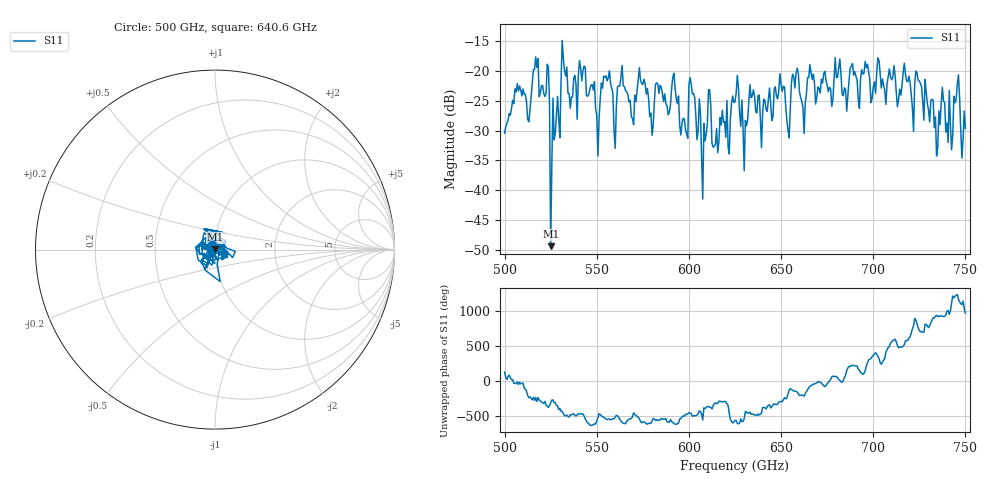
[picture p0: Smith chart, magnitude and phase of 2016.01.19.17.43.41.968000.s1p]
!Created with skrf (http://scikit-rf.org).
# GHz S RI R 50.0
!freq ReS11 ImS11
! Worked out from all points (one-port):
!   401 points, 500 GHz to 750 GHz, reference 50 ohm
!   lowest |S11| = -49.4 dB at 525 GHz (marker M1), VSWR 1.01, Z = 50.2 + j0.239 ohm
!   |S11| at or under -10 dB: start of sweep to end of sweep
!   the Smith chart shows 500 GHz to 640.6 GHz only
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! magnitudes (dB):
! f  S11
! 500 GHz  -30.4
! 506.9 GHz  -22.1
! 513.1 GHz  -28.5
! 516.9 GHz  -17.6
! 523.1 GHz  -18.9
! 525 GHz  -49.4
! 526.2 GHz  -24.5
! 531.2 GHz  -14.9
! 542.5 GHz  -19.9
! 550.6 GHz  -34.2
! 553.8 GHz  -20.9
! 559.4 GHz  -30.0
! 562.5 GHz  -22.5
! 593.8 GHz  -25.5
! 598.1 GHz  -29.7
! 601.2 GHz  -22.2
! 608.1 GHz  -28.8
! 610.6 GHz  -23.1
! 614.4 GHz  -32.3
! 625 GHz  -25.2
! 630.6 GHz  -28.3
! 633.8 GHz  -24.5
! 650.6 GHz  -23.4
! 653.8 GHz  -29.9
! 656.2 GHz  -20.5
! 687.5 GHz  -19.5
! 718.8 GHz  -21.8
! 750 GHz  -29.6
